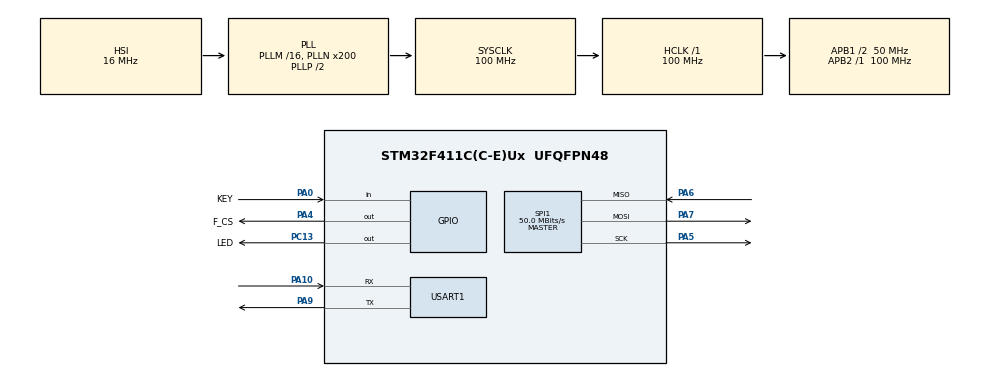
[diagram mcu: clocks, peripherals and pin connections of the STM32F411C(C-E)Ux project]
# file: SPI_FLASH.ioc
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Mcu.Family=STM32F4
Mcu.Name=STM32F411C(C-E)Ux
Mcu.Package=UFQFPN48
NVIC.PriorityGroup=NVIC_PRIORITYGROUP_4
PA0-WKUP.GPIO_Label=KEY
PA0-WKUP.Signal=GPIO_Input
PA10.Mode=Asynchronous
PA10.Signal=USART1_RX
PA13.Mode=Serial_Wire
PA13.Signal=SYS_JTMS-SWDIO
PA14.Mode=Serial_Wire
PA14.Signal=SYS_JTCK-SWCLK
PA4.GPIO_Label=F_CS
PA4.Signal=GPIO_Output
PA5.Mode=Full_Duplex_Master
PA5.Signal=SPI1_SCK
PA6.Mode=Full_Duplex_Master
PA6.Signal=SPI1_MISO
PA7.Mode=Full_Duplex_Master
PA7.Signal=SPI1_MOSI
PA9.Mode=Asynchronous
PA9.Signal=USART1_TX
PC13-ANTI_TAMP.GPIO_Label=LED
PC13-ANTI_TAMP.Signal=GPIO_Output
PC14-OSC32_IN.Mode=LSE-External-Oscillator
PC14-OSC32_IN.Signal=RCC_OSC32_IN
PC15-OSC32_OUT.Mode=LSE-External-Oscillator
PC15-OSC32_OUT.Signal=RCC_OSC32_OUT
PH0\ -\ OSC_IN.Mode=HSE-External-Oscillator
PH0\ -\ OSC_IN.Signal=RCC_OSC_IN
PH1\ -\ OSC_OUT.Mode=HSE-External-Oscillator
PH1\ -\ OSC_OUT.Signal=RCC_OSC_OUT
ProjectManager.HeapSize=0x200
ProjectManager.StackSize=0x400
ProjectManager.TargetToolchain=MDK-ARM V5.27
RCC.48MHZClocksFreq_Value=50000000
RCC.AHBFreq_Value=100000000
RCC.APB1CLKDivider=RCC_HCLK_DIV2
RCC.APB1Freq_Value=50000000
RCC.APB1TimFreq_Value=100000000
RCC.APB2Freq_Value=100000000
RCC.APB2TimFreq_Value=100000000
RCC.CortexFreq_Value=100000000
RCC.HCLKFreq_Value=100000000
RCC.HSE_VALUE=25000000
RCC.HSI_VALUE=16000000
RCC.PLLN=200
RCC.SYSCLKFreq_VALUE=100000000
RCC.SYSCLKSource=RCC_SYSCLKSOURCE_PLLCLK
RCC.VCOOutputFreq_Value=200000000
SPI1.BaudRatePrescaler=SPI_BAUDRATEPRESCALER_2
SPI1.CalculateBaudRate=50.0 MBits/s
SPI1.Direction=SPI_DIRECTION_2LINES
SPI1.Mode=SPI_MODE_MASTER
SPI1.VirtualType=VM_MASTER
USART1.VirtualMode=VM_ASYNC
board=custom

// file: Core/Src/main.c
/* USER CODE BEGIN Header */
/**
  ******************************************************************************
  * @file           : main.c
  * @brief          : Main program body
  ******************************************************************************
  * @attention
  *
  * <h2><center>&copy; Copyright (c) 2021 STMicroelectronics.
  * All rights reserved.</center></h2>
  *
  * This software component is licensed by ST under BSD 3-Clause license,
  * the "License"; You may not use this file except in compliance with the
  * License. You may obtain a copy of the License at:
  *                        opensource.org/licenses/BSD-3-Clause
  *
  ******************************************************************************
  */
/* USER CODE END Header */
#include "main.h"
#include "spi.h"
#include "usart.h"
#include "gpio.h"

/* USER CODE BEGIN Includes */
#include "W25Q64.h"
/* USER CODE END Includes */

void SystemClock_Config(void);

int main(void)
{

  /* MCU Configuration--------------------------------------------------------*/

  /* Reset of all peripherals, Initializes the Flash interface and the Systick. */
  HAL_Init();

  /* Configure the system clock */
  SystemClock_Config();

  /* Initialize all configured peripherals */
  MX_GPIO_Init();
  MX_SPI1_Init();
  MX_USART1_UART_Init();
  /* USER CODE BEGIN 2 */

	HAL_Delay(10);
	printf("开始初始化SPI flash \r\n");
	W25Qx_Init();
	printf("初始化SPI flash成功 \r\n");

	printf("存储数据：W25Q64 \r\n");

	uint8_t DATA[6]="W25Q64";
	uint8_t pDATA[6];

	W25Qx_Write(DATA,0*00, 6);

	//W25Qx_Erase_Block(0*00);

	printf("取出数据：");
	W25Qx_Read(pDATA,0*00,6);
	printf("%s\r\n",pDATA);
  /* USER CODE END 2 */

  /* Infinite loop */
  while (1)
  {

    /* USER CODE BEGIN 3 */
		HAL_GPIO_WritePin(LED_GPIO_Port, LED_Pin, GPIO_PIN_RESET);
		HAL_Delay(500);
		HAL_GPIO_WritePin(LED_GPIO_Port, LED_Pin, GPIO_PIN_SET);

		HAL_Delay(500);
  }
  /* USER CODE END 3 */
}

void SystemClock_Config(void)
{
  RCC_OscInitTypeDef RCC_OscInitStruct = {0};
  RCC_ClkInitTypeDef RCC_ClkInitStruct = {0};

  /** Configure the main internal regulator output voltage
  */
  __HAL_RCC_PWR_CLK_ENABLE();
  __HAL_PWR_VOLTAGESCALING_CONFIG(PWR_REGULATOR_VOLTAGE_SCALE1);
  /** Initializes the RCC Oscillators according to the specified parameters
  * in the RCC_OscInitTypeDef structure.
  */
  RCC_OscInitStruct.OscillatorType = RCC_OSCILLATORTYPE_HSI;
  RCC_OscInitStruct.HSIState = RCC_HSI_ON;
  RCC_OscInitStruct.HSICalibrationValue = RCC_HSICALIBRATION_DEFAULT;
  RCC_OscInitStruct.PLL.PLLState = RCC_PLL_ON;
  RCC_OscInitStruct.PLL.PLLSource = RCC_PLLSOURCE_HSI;
  RCC_OscInitStruct.PLL.PLLM = 16;
  RCC_OscInitStruct.PLL.PLLN = 200;
  RCC_OscInitStruct.PLL.PLLP = RCC_PLLP_DIV2;
  RCC_OscInitStruct.PLL.PLLQ = 4;
  if (HAL_RCC_OscConfig(&RCC_OscInitStruct) != HAL_OK)
  {
    Error_Handler();
  }
  /** Initializes the CPU, AHB and APB buses clocks
  */
  RCC_ClkInitStruct.ClockType = RCC_CLOCKTYPE_HCLK|RCC_CLOCKTYPE_SYSCLK
                              |RCC_CLOCKTYPE_PCLK1|RCC_CLOCKTYPE_PCLK2;
  RCC_ClkInitStruct.SYSCLKSource = RCC_SYSCLKSOURCE_PLLCLK;
  RCC_ClkInitStruct.AHBCLKDivider = RCC_SYSCLK_DIV1;
  RCC_ClkInitStruct.APB1CLKDivider = RCC_HCLK_DIV2;
  RCC_ClkInitStruct.APB2CLKDivider = RCC_HCLK_DIV1;

  if (HAL_RCC_ClockConfig(&RCC_ClkInitStruct, FLASH_LATENCY_3) != HAL_OK)
  {
    Error_Handler();
  }
}

void Error_Handler(void)
{
  __disable_irq();
  while (1)
  {
  }
}

/************************ (C) COPYRIGHT STMicroelectronics *****END OF FILE****/
